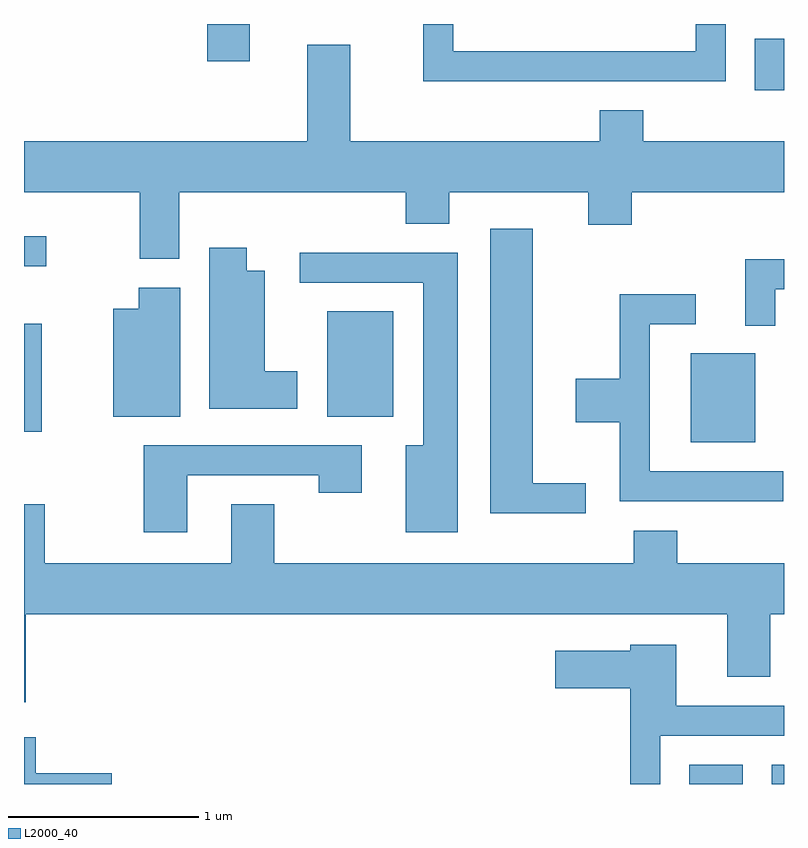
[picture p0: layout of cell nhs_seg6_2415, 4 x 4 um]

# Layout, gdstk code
import gdstk
lib = gdstk.Library(unit=1e-6, precision=1e-09)
def R(c, l, rs):  # rectangles x0, y0, x1, y1
    for r in rs: c.add(gdstk.rectangle(r[:2], r[2:], *l))
def P(c, l, *ps):  # polygons
    for p in ps: c.add(gdstk.Polygon(p, *l))
L2000_40 = (2000, 40)

nhs_seg6_2415 = lib.new_cell('nhs_seg6_2415')
R(nhs_seg6_2415, L2000_40, [(261.111,1640.162,261.394,1640.264), (261.546,1640.162,261.611,1640.264), (261.121,1641.961,261.459,1642.429), (257.611,1642.016,257.704,1642.584), (259.206,1642.096,259.554,1642.649), (257.611,1642.886,257.728,1643.044), (261.456,1643.813,261.611,1644.084), (258.576,1643.966,258.799,1644.162)])
P(nhs_seg6_2415, L2000_40, [(261.304,1644.162),(261.146,1644.162),(261.146,1644.019),(259.869,1644.019),(259.869,1644.162),(259.711,1644.162),(259.711,1643.861),(261.304,1643.861)],
  [(258.429,1643.276),(259.621,1643.276),(259.621,1643.111),(259.849,1643.111),(259.849,1643.276),(260.581,1643.276),(260.581,1643.106),(260.809,1643.106),(260.809,1643.276),(261.611,1643.276),(261.611,1643.544),(260.869,1643.544),(260.869,1643.709),(260.641,1643.709),(260.641,1643.544),(259.329,1643.544),(259.329,1644.054),(259.101,1644.054),(259.101,1643.544),(257.611,1643.544),(257.611,1643.276),(258.221,1643.276),(258.221,1642.926),(258.429,1642.926)],
  [(260.568,1641.744),(260.289,1641.744),(260.289,1643.084),(260.066,1643.084),(260.066,1641.586),(260.568,1641.586)],
  [(259.049,1642.334),(258.879,1642.334),(258.879,1642.864),(258.784,1642.864),(258.784,1642.984),(258.586,1642.984),(258.586,1642.136),(259.049,1642.136)],
  [(259.894,1642.959),(259.063,1642.959),(259.063,1642.801),(259.711,1642.801),(259.711,1641.944),(259.621,1641.944),(259.621,1641.486),(259.894,1641.486)],
  [(261.564,1642.766),(261.611,1642.766),(261.611,1642.924),(261.406,1642.924),(261.406,1642.573),(261.564,1642.573)],
  [(258.434,1642.774),(258.216,1642.774),(258.216,1642.664),(258.081,1642.664),(258.081,1642.096),(258.434,1642.096)],
  [(261.608,1641.809),(260.904,1641.809),(260.904,1642.581),(261.147,1642.581),(261.147,1642.739),(260.746,1642.739),(260.746,1642.294),(260.516,1642.294),(260.516,1642.066),(260.746,1642.066),(260.746,1641.651),(261.608,1641.651)],
  [(258.469,1641.786),(259.161,1641.786),(259.161,1641.696),(259.389,1641.696),(259.389,1641.944),(258.241,1641.944),(258.241,1641.486),(258.469,1641.486)],
  [(257.619,1641.056),(261.311,1641.056),(261.311,1640.726),(261.539,1640.726),(261.539,1641.056),(261.611,1641.056),(261.611,1641.324),(261.049,1641.324),(261.049,1641.494),(260.821,1641.494),(260.821,1641.324),(258.929,1641.324),(258.929,1641.634),(258.701,1641.634),(258.701,1641.324),(257.719,1641.324),(257.719,1641.634),(257.611,1641.634),(257.611,1640.593),(257.619,1640.593)],
  [(260.959,1640.416),(261.611,1640.416),(261.611,1640.574),(261.044,1640.574),(261.044,1640.894),(260.801,1640.894),(260.801,1640.864),(260.406,1640.864),(260.406,1640.666),(260.801,1640.666),(260.801,1640.162),(260.959,1640.162)],
  [(258.074,1640.219),(257.674,1640.219),(257.674,1640.409),(257.611,1640.409),(257.611,1640.162),(258.074,1640.162)])

lib.write_gds('nhs_seg6_2415.gds')
